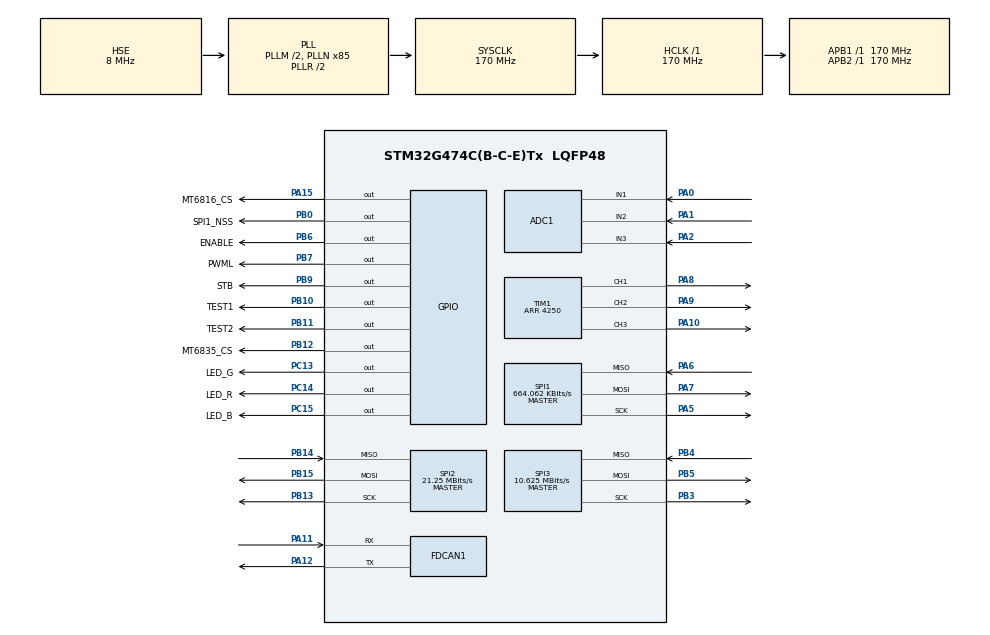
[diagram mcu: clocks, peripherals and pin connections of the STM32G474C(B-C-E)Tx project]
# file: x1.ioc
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ADC1.ContinuousConvMode=DISABLE
ADC1.DMAContinuousRequests=DISABLE
ADC1.DiscontinuousConvMode=DISABLE
ADC1.EnableInjectedConversion=ENABLE
ADC1.EnableRegularConversion=DISABLE
ADC1.ExternalTrigInjecConv=ADC_EXTERNALTRIGINJEC_T1_CC4
ADC1.ExternalTrigInjecConvEdge=ADC_EXTERNALTRIGINJECCONV_EDGE_FALLING
ADC1.InjNumberOfConversion=3
ADC1.InjectedChannel-4\#ChannelInjectedConversion=ADC_CHANNEL_1
ADC1.InjectedChannel-5\#ChannelInjectedConversion=ADC_CHANNEL_2
ADC1.InjectedChannel-6\#ChannelInjectedConversion=ADC_CHANNEL_3
ADC1.InjectedOffsetNumber-4\#ChannelInjectedConversion=ADC_OFFSET_NONE
ADC1.InjectedOffsetNumber-5\#ChannelInjectedConversion=ADC_OFFSET_NONE
ADC1.InjectedOffsetNumber-6\#ChannelInjectedConversion=ADC_OFFSET_NONE
ADC1.InjectedRank-4\#ChannelInjectedConversion=1
ADC1.InjectedRank-5\#ChannelInjectedConversion=2
ADC1.InjectedRank-6\#ChannelInjectedConversion=3
ADC1.InjectedSamplingTime-4\#ChannelInjectedConversion=ADC_SAMPLETIME_2CYCLES_5
ADC1.InjectedSamplingTime-5\#ChannelInjectedConversion=ADC_SAMPLETIME_2CYCLES_5
ADC1.InjectedSamplingTime-6\#ChannelInjectedConversion=ADC_SAMPLETIME_2CYCLES_5
ADC1.Rank1_Channel=ADC_CHANNEL_1
ADC1.Rank2_Channel=ADC_CHANNEL_2
ADC1.Rank3_Channel=ADC_CHANNEL_3
ADC1.master=1
FDCAN1.AutoRetransmission=ENABLE
FDCAN1.CalculateBaudRateNominal=1000000
FDCAN1.CalculateTimeBitNominal=1000
FDCAN1.CalculateTimeQuantumNominal=100.0
FDCAN1.ClockDivider=FDCAN_CLOCK_DIV1
FDCAN1.DataPrescaler=1
FDCAN1.DataSyncJumpWidth=5
FDCAN1.DataTimeSeg1=28
FDCAN1.DataTimeSeg2=5
FDCAN1.ExtFiltersNbr=0
FDCAN1.FrameFormat=FDCAN_FRAME_FD_BRS
FDCAN1.NominalPrescaler=17
FDCAN1.NominalSyncJumpWidth=3
FDCAN1.NominalTimeSeg1=5
FDCAN1.NominalTimeSeg2=4
FDCAN1.StdFiltersNbr=1
Mcu.Family=STM32G4
Mcu.Name=STM32G474C(B-C-E)Tx
Mcu.Package=LQFP48
NVIC.ADC1_2_IRQn=true\:0\:0\:true\:false\:true\:true\:true\:true
NVIC.FDCAN1_IT0_IRQn=true\:2\:0\:true\:false\:true\:true\:true\:true
NVIC.PriorityGroup=NVIC_PRIORITYGROUP_4
NVIC.TIM1_UP_TIM16_IRQn=true\:1\:0\:true\:false\:true\:true\:true\:true
PA0.Mode=IN1-Single-Ended
PA0.Signal=ADC1_IN1
PA1.Mode=IN2-Single-Ended
PA1.Signal=ADC1_IN2
PA10.Signal=S_TIM1_CH3
PA11.GPIO_Speed=GPIO_SPEED_FREQ_VERY_HIGH
PA11.Mode=FDCAN_Activate
PA11.Signal=FDCAN1_RX
PA12.GPIO_Speed=GPIO_SPEED_FREQ_VERY_HIGH
PA12.Mode=FDCAN_Activate
PA12.Signal=FDCAN1_TX
PA13.Mode=Serial_Wire
PA13.Signal=SYS_JTMS-SWDIO
PA14.Mode=Serial_Wire
PA14.Signal=SYS_JTCK-SWCLK
PA15.GPIO_Label=MT6816_CS
PA15.GPIO_Speed=GPIO_SPEED_FREQ_VERY_HIGH
PA15.Signal=GPIO_Output
PA2.Mode=IN3-Single-Ended
PA2.Signal=ADC1_IN3
PA5.Mode=Full_Duplex_Master
PA5.Signal=SPI1_SCK
PA6.Mode=Full_Duplex_Master
PA6.Signal=SPI1_MISO
PA7.Mode=Full_Duplex_Master
PA7.Signal=SPI1_MOSI
PA8.Signal=S_TIM1_CH1
PA9.Signal=S_TIM1_CH2
PB0.GPIO_Label=SPI1_NSS
PB0.GPIO_Speed=GPIO_SPEED_FREQ_VERY_HIGH
PB0.Signal=GPIO_Output
PB10.GPIO_Label=TEST1
PB10.GPIO_Speed=GPIO_SPEED_FREQ_VERY_HIGH
PB10.Signal=GPIO_Output
PB11.GPIO_Label=TEST2
PB11.GPIO_Speed=GPIO_SPEED_FREQ_VERY_HIGH
PB11.Signal=GPIO_Output
PB12.GPIO_Label=MT6835_CS
PB12.GPIO_Speed=GPIO_SPEED_FREQ_VERY_HIGH
PB12.Signal=GPIO_Output
PB13.Mode=Full_Duplex_Master
PB13.Signal=SPI2_SCK
PB14.Mode=Full_Duplex_Master
PB14.Signal=SPI2_MISO
PB15.Mode=Full_Duplex_Master
PB15.Signal=SPI2_MOSI
PB3.Mode=Full_Duplex_Master
PB3.Signal=SPI3_SCK
PB4.Mode=Full_Duplex_Master
PB4.Signal=SPI3_MISO
PB5.Mode=Full_Duplex_Master
PB5.Signal=SPI3_MOSI
PB6.GPIO_Label=ENABLE
PB6.GPIO_Speed=GPIO_SPEED_FREQ_VERY_HIGH
PB6.Signal=GPIO_Output
PB7.GPIO_Label=PWML
PB7.GPIO_Speed=GPIO_SPEED_FREQ_VERY_HIGH
PB7.Signal=GPIO_Output
PB9.GPIO_Label=STB
PB9.Signal=GPIO_Output
PC13.GPIO_Label=LED_G
PC13.PinState=GPIO_PIN_RESET
PC13.Signal=GPIO_Output
PC14-OSC32_IN.GPIO_Label=LED_R
PC14-OSC32_IN.Signal=GPIO_Output
PC15-OSC32_OUT.GPIO_Label=LED_B
PC15-OSC32_OUT.Signal=GPIO_Output
PF0-OSC_IN.Mode=HSE-External-Oscillator
PF0-OSC_IN.Signal=RCC_OSC_IN
PF1-OSC_OUT.Mode=HSE-External-Oscillator
PF1-OSC_OUT.Signal=RCC_OSC_OUT
ProjectManager.HeapSize=0x200
ProjectManager.StackSize=0x400
ProjectManager.TargetToolchain=CMake
RCC.ADC12Freq_Value=170000000
RCC.ADC345Freq_Value=170000000
RCC.AHBFreq_Value=170000000
RCC.APB1Freq_Value=170000000
RCC.APB1TimFreq_Value=170000000
RCC.APB2Freq_Value=170000000
RCC.APB2TimFreq_Value=170000000
RCC.CortexFreq_Value=170000000
RCC.EXTERNAL_CLOCK_VALUE=12288000
RCC.EnbaleCSS=true
RCC.HCLKFreq_Value=170000000
RCC.HSE_VALUE=8000000
RCC.HSI48_VALUE=48000000
RCC.HSI_VALUE=16000000
RCC.LSE_VALUE=32768
RCC.PLLM=RCC_PLLM_DIV2
RCC.PLLN=85
RCC.PLLSourceVirtual=RCC_PLLSOURCE_HSE
RCC.SYSCLKFreq_VALUE=170000000
RCC.SYSCLKSource=RCC_SYSCLKSOURCE_PLLCLK
RCC.USBFreq_Value=170000000
RCC.VCOOutputFreq_Value=340000000
SH.S_TIM1_CH1.0=TIM1_CH1,PWM Generation1 CH1
SH.S_TIM1_CH2.0=TIM1_CH2,PWM Generation2 CH2
SH.S_TIM1_CH3.0=TIM1_CH3,PWM Generation3 CH3
SPI1.BaudRatePrescaler=SPI_BAUDRATEPRESCALER_256
SPI1.CLKPhase=SPI_PHASE_2EDGE
SPI1.CalculateBaudRate=664.062 KBits/s
SPI1.DataSize=SPI_DATASIZE_16BIT
SPI1.Direction=SPI_DIRECTION_2LINES
SPI1.Mode=SPI_MODE_MASTER
SPI1.VirtualType=VM_MASTER
SPI2.BaudRatePrescaler=SPI_BAUDRATEPRESCALER_8
SPI2.CLKPhase=SPI_PHASE_2EDGE
SPI2.CLKPolarity=SPI_POLARITY_HIGH
SPI2.CalculateBaudRate=21.25 MBits/s
SPI2.DataSize=SPI_DATASIZE_8BIT
SPI2.Direction=SPI_DIRECTION_2LINES
SPI2.Mode=SPI_MODE_MASTER
SPI2.VirtualType=VM_MASTER
SPI3.BaudRatePrescaler=SPI_BAUDRATEPRESCALER_16
SPI3.CLKPhase=SPI_PHASE_2EDGE
SPI3.CLKPolarity=SPI_POLARITY_HIGH
SPI3.CalculateBaudRate=10.625 MBits/s
SPI3.DataSize=SPI_DATASIZE_8BIT
SPI3.Direction=SPI_DIRECTION_2LINES
SPI3.FirstBit=SPI_FIRSTBIT_MSB
SPI3.Mode=SPI_MODE_MASTER
SPI3.VirtualType=VM_MASTER
TIM1.AutoReloadPreload=TIM_AUTORELOAD_PRELOAD_ENABLE
TIM1.Channel-PWM\ Generation1\ CH1=TIM_CHANNEL_1
TIM1.Channel-PWM\ Generation2\ CH2=TIM_CHANNEL_2
TIM1.Channel-PWM\ Generation3\ CH3=TIM_CHANNEL_3
TIM1.Channel-PWM\ Generation4\ No\ Output=TIM_CHANNEL_4
TIM1.CounterMode=TIM_COUNTERMODE_CENTERALIGNED1
TIM1.PeriodNoDither=4250
TIM3.Prescaler=300
VP_SYS_VS_DBSignals.Mode=DisableDeadBatterySignals
VP_TIM1_VS_ClockSourceINT.Mode=Internal
VP_TIM1_VS_no_output4.Mode=PWM Generation4 No Output
VP_TIM3_VS_ClockSourceINT.Mode=Internal
board=custom

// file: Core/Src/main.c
/* USER CODE BEGIN Header */
/**
  ******************************************************************************
  * @file           : main.c
  * @brief          : Main program body
  ******************************************************************************
  * @attention
  *
  * Copyright (c) 2025 STMicroelectronics.
  * All rights reserved.
  *
  * This software is licensed under terms that can be found in the LICENSE file
  * in the root directory of this software component.
  * If no LICENSE file comes with this software, it is provided AS-IS.
  *
  ******************************************************************************
  */
/* USER CODE END Header */
#include "main.h"
#include "adc.h"
#include "fdcan.h"
#include "spi.h"
#include "tim.h"
#include "gpio.h"

/* USER CODE BEGIN Includes */
#include "foc_drv.h"
#include "foc_alg.h"
#include "mt6835.h"
#include "MT6816.h"
#include "SEGGER_RTT.h"
#include "flash.h"
#include "drv_DRV835X.h"
// #include "test.h"
/* USER CODE END Includes */

/* USER CODE BEGIN PV */
Motor_HandleTypeDef motor;
mt6835_t *mt6835 = NULL;
mt6816_HandleTypeDef mt6816;
Motor_ConfigTypeDef motor_config;

/* USER CODE END PV */

void SystemClock_Config(void);

int main(void)
{

  /* MCU Configuration--------------------------------------------------------*/

  /* Reset of all peripherals, Initializes the Flash interface and the Systick. */
  HAL_Init();

  /* Configure the system clock */
  SystemClock_Config();

  /* Initialize all configured peripherals */
  MX_GPIO_Init();
  MX_SPI1_Init();
  MX_SPI2_Init();
  MX_TIM1_Init();
  MX_TIM3_Init();
  MX_ADC1_Init();
  MX_FDCAN1_Init();
  MX_SPI3_Init();
  /* USER CODE BEGIN 2 */
  SEGGER_RTT_Init();                                //JLINK RTT 初始化
  SEGGER_RTT_SetTerminal(0);

  foc_init(&motor);                                 //foc初始化
  mt6816_init(&mt6816);                             //副磁编初始化
  mt6835 = mt6835_stm32_spi_port_init();            //主磁编初始化
  DRV835X_Init();                                   //电驱芯片初始化

  HAL_Delay(1000);

  // update_flash(ADDR_FLASH_SECTOR_0,(uint64_t*)&motor.motor_config,sizeof(motor.motor_config)/4);
  // flash_read(ADDR_FLASH_SECTOR_0,(uint32_t*)&motor_config,sizeof(motor.motor_config)/4);

  // __HAL_ADC_ENABLE_IT(&hadc1, ADC_IT_JEOC);         //adc采样中断(PWM通道4触发)
  // __HAL_TIM_ENABLE_IT(&htim1, TIM_IT_UPDATE);       //定时中断(20Khz 兼为PWM定时器)
  // __HAL_FDCAN_ENABLE_IT(&hfdcan1, FDCAN_IT_RX_FIFO0_NEW_MESSAGE); //使能CAN中断

  // __HAL_FDCAN_DISABLE_IT(&hfdcan1, FDCAN_IT_RX_FIFO0_NEW_MESSAGE);
  // __HAL_TIM_DISABLE_IT(&htim1, TIM_IT_UPDATE);
  // __HAL_ADC_DISABLE_IT(&hadc1, ADC_IT_JEOC);

  /* USER CODE END 2 */

  /* Infinite loop */
  while (1)
  {

    /* USER CODE BEGIN 3 */
    // 各类校准例程
    // {
    // update_2dir_sensor_block(&motor);
    // update_angle_el_zero_sensor_block(&motor);
    // update_angle_el_zero_no_sensor_block(&motor);
    // update_NLLUT_and_angle_el_zero_sensor_block(&motor);
    // }

  }
  /* USER CODE END 3 */
}

void SystemClock_Config(void)
{
  RCC_OscInitTypeDef RCC_OscInitStruct = {0};
  RCC_ClkInitTypeDef RCC_ClkInitStruct = {0};

  /** Configure the main internal regulator output voltage
  */
  HAL_PWREx_ControlVoltageScaling(PWR_REGULATOR_VOLTAGE_SCALE1_BOOST);

  /** Initializes the RCC Oscillators according to the specified parameters
  * in the RCC_OscInitTypeDef structure.
  */
  RCC_OscInitStruct.OscillatorType = RCC_OSCILLATORTYPE_HSE;
  RCC_OscInitStruct.HSEState = RCC_HSE_ON;
  RCC_OscInitStruct.PLL.PLLState = RCC_PLL_ON;
  RCC_OscInitStruct.PLL.PLLSource = RCC_PLLSOURCE_HSE;
  RCC_OscInitStruct.PLL.PLLM = RCC_PLLM_DIV2;
  RCC_OscInitStruct.PLL.PLLN = 85;
  RCC_OscInitStruct.PLL.PLLP = RCC_PLLP_DIV2;
  RCC_OscInitStruct.PLL.PLLQ = RCC_PLLQ_DIV2;
  RCC_OscInitStruct.PLL.PLLR = RCC_PLLR_DIV2;
  if (HAL_RCC_OscConfig(&RCC_OscInitStruct) != HAL_OK)
  {
    Error_Handler();
  }

  /** Initializes the CPU, AHB and APB buses clocks
  */
  RCC_ClkInitStruct.ClockType = RCC_CLOCKTYPE_HCLK|RCC_CLOCKTYPE_SYSCLK
                              |RCC_CLOCKTYPE_PCLK1|RCC_CLOCKTYPE_PCLK2;
  RCC_ClkInitStruct.SYSCLKSource = RCC_SYSCLKSOURCE_PLLCLK;
  RCC_ClkInitStruct.AHBCLKDivider = RCC_SYSCLK_DIV1;
  RCC_ClkInitStruct.APB1CLKDivider = RCC_HCLK_DIV1;
  RCC_ClkInitStruct.APB2CLKDivider = RCC_HCLK_DIV1;

  if (HAL_RCC_ClockConfig(&RCC_ClkInitStruct, FLASH_LATENCY_4) != HAL_OK)
  {
    Error_Handler();
  }

  /** Enables the Clock Security System
  */
  HAL_RCC_EnableCSS();
}

void Error_Handler(void)
{
  /* USER CODE BEGIN Error_Handler_Debug */
  /* User can add his own implementation to report the HAL error return state */
  __disable_irq();
  while (1)
  {
    SEGGER_RTT_printf(0,"error!\n");
  }
  /* USER CODE END Error_Handler_Debug */
}
